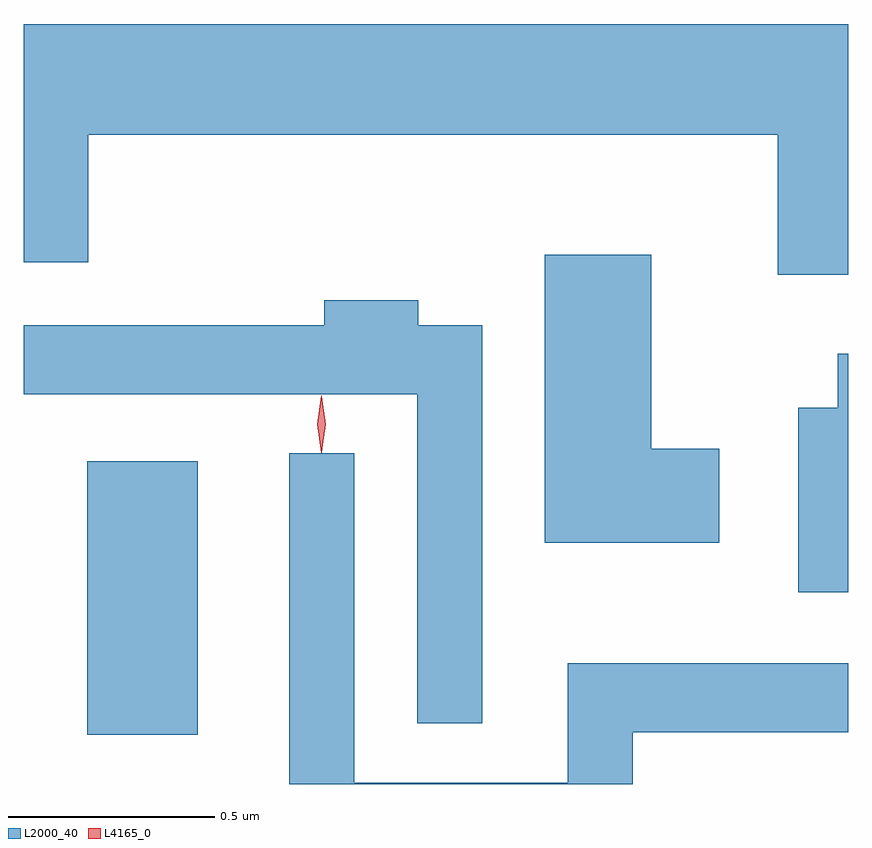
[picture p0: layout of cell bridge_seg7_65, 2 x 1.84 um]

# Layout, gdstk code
import gdstk
lib = gdstk.Library(unit=1e-6, precision=1e-09)
def R(c, l, rs):  # rectangles x0, y0, x1, y1
    for r in rs: c.add(gdstk.rectangle(r[:2], r[2:], *l))
def P(c, l, *ps):  # polygons
    for p in ps: c.add(gdstk.Polygon(p, *l))
L2000_40 = (2000, 40)
L4165_0 = (4165, 0)

bridge_seg7_65 = lib.new_cell('bridge_seg7_65')
R(bridge_seg7_65, L2000_40, [(1625.336,1786.121,1625.604,1786.784)])
P(bridge_seg7_65, L2000_40, [(1627.182,1787.844),(1625.182,1787.844),(1625.182,1787.266),(1625.339,1787.266),(1625.339,1787.576),(1627.011,1787.576),(1627.011,1787.236),(1627.182,1787.236)],
  [(1626.869,1786.814),(1626.704,1786.814),(1626.704,1787.284),(1626.446,1787.284),(1626.446,1786.586),(1626.869,1786.586)],
  [(1626.294,1787.114),(1626.139,1787.114),(1626.139,1787.174),(1625.911,1787.174),(1625.911,1787.114),(1625.182,1787.114),(1625.182,1786.946),(1626.136,1786.946),(1626.136,1786.148),(1626.294,1786.148)],
  [(1627.182,1787.044),(1627.156,1787.044),(1627.156,1786.914),(1627.061,1786.914),(1627.061,1786.466),(1627.182,1786.466)],
  [(1626.659,1786.126),(1627.182,1786.126),(1627.182,1786.294),(1626.501,1786.294),(1626.501,1786.004),(1625.984,1786.004),(1625.984,1786.803),(1625.826,1786.803),(1625.826,1786.001),(1626.659,1786.001)])
P(bridge_seg7_65, L4165_0, [(1625.904,1786.804),(1625.904,1786.804),(1625.894,1786.874),(1625.904,1786.942),(1625.904,1786.943),(1625.905,1786.942),(1625.914,1786.874),(1625.905,1786.804)],
  [(1625.905,1786.807),(1625.904,1786.808),(1625.895,1786.874),(1625.904,1786.94),(1625.905,1786.94),(1625.905,1786.94),(1625.915,1786.874),(1625.905,1786.808)])

lib.write_gds('bridge_seg7_65.gds')
